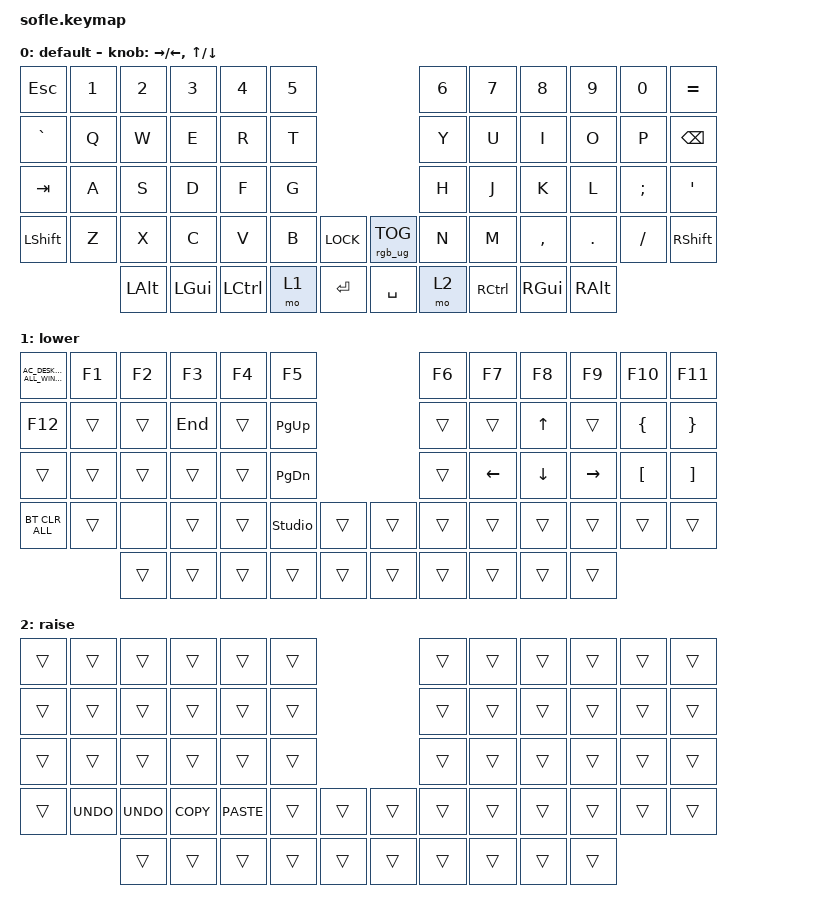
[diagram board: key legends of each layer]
#include <behaviors.dtsi>
#include <dt-bindings/zmk/bt.h>
#include <dt-bindings/zmk/keys.h>
#include <dt-bindings/zmk/rgb.h>

/ {
    keymap {
        compatible = "zmk,keymap";

        default {
            bindings = <
&kp ESC    &kp N1  &kp N2    &kp N3    &kp N4            &kp N5                                 &kp N6  &kp N7             &kp N8         &kp N9    &kp N0    &kp EQUAL
&kp GRAVE  &kp Q   &kp W     &kp E     &kp R             &kp T                                  &kp Y   &kp U              &kp I          &kp O     &kp P     &kp BACKSPACE
&kp TAB    &kp A   &kp S     &kp D     &kp F             &kp G                                  &kp H   &kp J              &kp K          &kp L     &kp SEMI  &kp APOS
&kp LSHFT  &kp Z   &kp X     &kp C     &kp V             &kp B   &kp K_LOCK    &rgb_ug RGB_TOG  &kp N   &kp M              &kp COMMA      &kp DOT   &kp FSLH  &kp RSHFT
                   &kp LALT  &kp LGUI  &kp LEFT_CONTROL  &mo 1   &kp ENTER     &kp SPACE        &mo 2   &kp RIGHT_CONTROL  &kp RIGHT_GUI  &kp RALT
            >;

            sensor-bindings =
                <&inc_dec_kp RIGHT_ARROW LEFT_ARROW>,
                <&inc_dec_kp UP_ARROW DOWN_ARROW>;
        };

        lower {
            bindings = <
&kp C_AC_DESKTOP_SHOW_ALL_WINDOWS  &kp F1  &kp F2  &kp F3   &kp F4  &kp F5                            &kp F6  &kp F7          &kp F8          &kp F9           &kp F10           &kp F11
&kp F12                            &trans  &trans  &kp END  &trans  &kp PAGE_UP                       &trans  &trans          &kp UP_ARROW    &trans           &kp LEFT_BRACE    &kp RIGHT_BRACE
&trans                             &trans  &trans  &trans   &trans  &kp PAGE_DOWN                     &trans  &kp LEFT_ARROW  &kp DOWN_ARROW  &kp RIGHT_ARROW  &kp LEFT_BRACKET  &kp RIGHT_BRACKET
&bt BT_CLR_ALL                     &trans  &none   &trans   &trans  &studio_unlock  &trans    &trans  &trans  &trans          &trans          &trans           &trans            &trans
                                           &trans  &trans   &trans  &trans          &trans    &trans  &trans  &trans          &trans          &trans
            >;
        };

        raise {
            bindings = <
&trans  &trans      &trans      &trans      &trans       &trans                    &trans  &trans  &trans  &trans  &trans  &trans
&trans  &trans      &trans      &trans      &trans       &trans                    &trans  &trans  &trans  &trans  &trans  &trans
&trans  &trans      &trans      &trans      &trans       &trans                    &trans  &trans  &trans  &trans  &trans  &trans
&trans  &kp K_UNDO  &kp K_UNDO  &kp K_COPY  &kp K_PASTE  &trans  &trans    &trans  &trans  &trans  &trans  &trans  &trans  &trans
                    &trans      &trans      &trans       &trans  &trans    &trans  &trans  &trans  &trans  &trans
            >;
        };
    };
};
